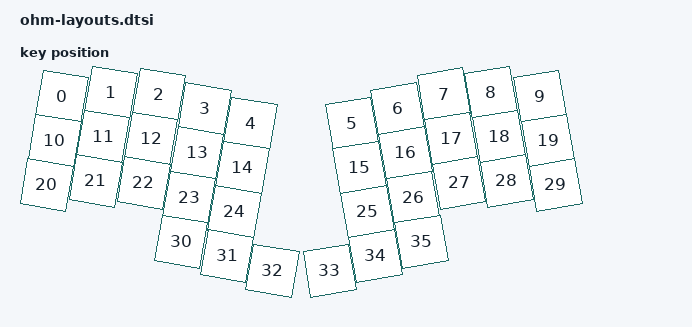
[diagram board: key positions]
#include <dt-bindings/zmk/matrix_transform.h> // Put this with the other includes at the top of your dtsi
#include <physical_layouts.dtsi>

// Positions are the Fusion 360 key-centre coordinates (X, Z axes) converted to
// ZMK centiunits (100 cu = 1U = 19.05 mm).  The 10° splay is baked into the X/Y
// values, giving the correct slanted-column, split appearance in ZMK Studio.
// rot: 1000 cd = 10° CW (left half keycap tilt), -1000 cd = 10° CCW (right half).
// If the halves lean the wrong way in ZMK Studio, negate every rot value.
//
/ {
    physical_layout0: physical_layout_0 {
        compatible = "zmk,physical-layout";
        display-name = "Default";

        kscan = <&kscan0>;
        transform = <&default_transform>;

        keys  //                     w   h    x    y     rot    rx    ry
            // Left row 0  (Q W E R T)
            = <&key_physical_attrs 100 100   31    8    1000    81    58>
            , <&key_physical_attrs 100 100  129    0    1000   179    50>
            , <&key_physical_attrs 100 100  225    4    1000   275    54>
            , <&key_physical_attrs 100 100  316   33    1000   366    83>
            , <&key_physical_attrs 100 100  408   62    1000   458   112>
            // Right row 0  (Y U I O P)
            , <&key_physical_attrs 100 100  611   62   (-1000)  661   112>
            , <&key_physical_attrs 100 100  702   33   (-1000)  752    83>
            , <&key_physical_attrs 100 100  794    4   (-1000)  844    54>
            , <&key_physical_attrs 100 100  889    0   (-1000)  939    50>
            , <&key_physical_attrs 100 100  987    8   (-1000) 1037    58>
            // Left row 1  (A S D F G)
            , <&key_physical_attrs 100 100   16   96    1000    66   146>
            , <&key_physical_attrs 100 100  113   88    1000   163   138>
            , <&key_physical_attrs 100 100  209   92    1000   259   142>
            , <&key_physical_attrs 100 100  301  121    1000   351   171>
            , <&key_physical_attrs 100 100  392  150    1000   442   200>
            // Right row 1  (H J K L ;)
            , <&key_physical_attrs 100 100  626  150   (-1000)  676   200>
            , <&key_physical_attrs 100 100  718  121   (-1000)  768   171>
            , <&key_physical_attrs 100 100  809   92   (-1000)  859   142>
            , <&key_physical_attrs 100 100  905   88   (-1000)  955   138>
            , <&key_physical_attrs 100 100 1003   96   (-1000) 1053   146>
            // Left row 2  (Z X C V B)
            , <&key_physical_attrs 100 100    0  185    1000    50   235>
            , <&key_physical_attrs 100 100   98  177    1000   148   227>
            , <&key_physical_attrs 100 100  194  181    1000   244   231>
            , <&key_physical_attrs 100 100  285  210    1000   335   260>
            , <&key_physical_attrs 100 100  376  239    1000   426   289>
            // Right row 2  (N M , . ')
            , <&key_physical_attrs 100 100  642  239   (-1000)  692   289>
            , <&key_physical_attrs 100 100  733  210   (-1000)  783   260>
            , <&key_physical_attrs 100 100  825  181   (-1000)  875   231>
            , <&key_physical_attrs 100 100  920  177   (-1000)  970   227>
            , <&key_physical_attrs 100 100 1018  185   (-1000) 1068   235>
            // Left thumb
            , <&key_physical_attrs 100 100  269  298    1000   319   348>
            , <&key_physical_attrs 100 100  361  327    1000   411   377>
            , <&key_physical_attrs 100 100  452  356    1000   502   406>
            // Right thumb
            , <&key_physical_attrs 100 100  566  356   (-1000)  616   406>
            , <&key_physical_attrs 100 100  658  327   (-1000)  708   377>
            , <&key_physical_attrs 100 100  750  298   (-1000)  800   348>
            ;
    };
};

/ {
    chosen {
        zmk,physical-layout = &physical_layout0;
        // Other chosen items
    };
};
